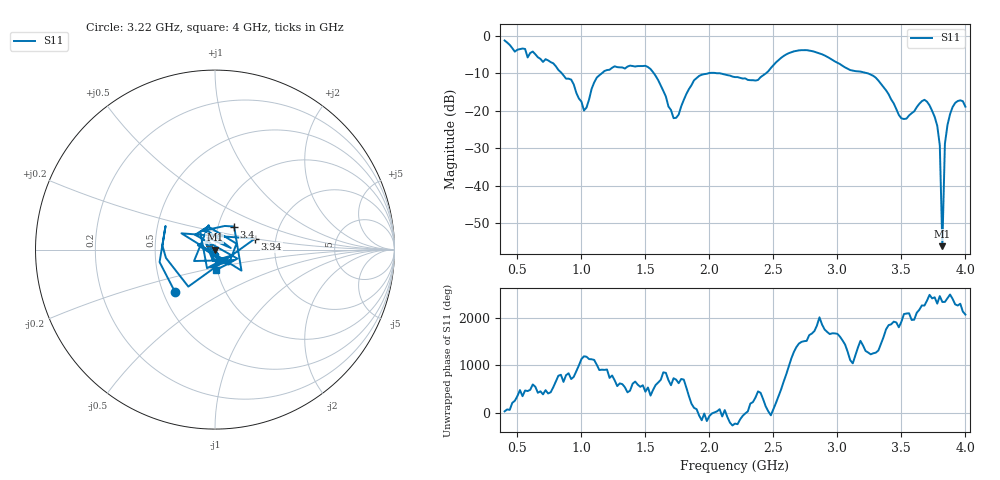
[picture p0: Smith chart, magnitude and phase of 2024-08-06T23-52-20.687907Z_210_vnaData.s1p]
!Created with skrf (http://scikit-rf.org).
# Hz S RI R 50.0
!freq ReS11 ImS11
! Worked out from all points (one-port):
!   181 points, 400 MHz to 4 GHz, reference 50 ohm
!   lowest |S11| = -56.1 dB at 3.82 GHz (marker M1), VSWR 1.00, Z = 49.8 + j0.000785 ohm
!   |S11| at or under -10 dB: 1.567 GHz to 1.988 GHz (421.7 MHz wide, 23.7 % of centre); 2.087 GHz to 2.441 GHz (353.6 MHz wide, 15.6 % of centre); 3.24 GHz to end of sweep (the widest 3 of 4)
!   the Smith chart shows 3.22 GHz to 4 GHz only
!   S11 on the Smith chart (normalised r, x): 3.22 GHz: 0.58, -0.30; 3.34 GHz: 1.55, +0.20; 3.4 GHz: 1.19, +0.32; 4 GHz: 0.99, -0.23
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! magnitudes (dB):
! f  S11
! 400 MHz  -1.2
! 860 MHz  -10.5
! 920 MHz  -11.6
! 1.02 GHz  -19.9
! 1.12 GHz  -11.1
! 1.3 GHz  -8.4
! 1.54 GHz  -8.8
! 1.72 GHz  -21.9
! 1.76 GHz  -21.0
! 1.92 GHz  -10.7
! 2.2 GHz  -11.0
! 2.38 GHz  -11.7
! 2.66 GHz  -4.1
! 2.86 GHz  -4.6
! 3.1 GHz  -9.1
! 3.22 GHz  -9.8
! 3.34 GHz  -12.8
! 3.4 GHz  -15.5
! 3.5 GHz  -22.0
! 3.56 GHz  -21.2
! 3.68 GHz  -17.0
! 3.78 GHz  -24.0
! 3.8 GHz  -29.2
! 3.82 GHz  -56.1
! 3.84 GHz  -28.8
! 3.86 GHz  -23.8
! 3.92 GHz  -17.9
! 4 GHz  -18.9
